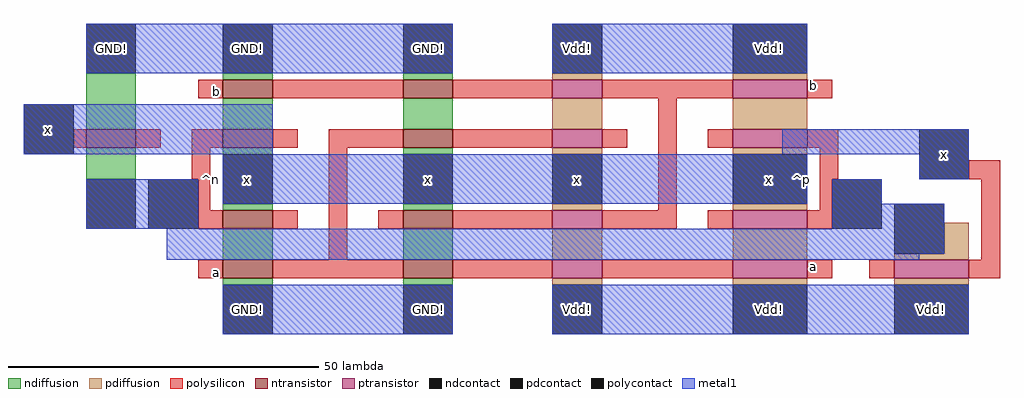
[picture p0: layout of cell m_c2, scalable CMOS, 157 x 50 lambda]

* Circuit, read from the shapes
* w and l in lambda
.subckt m_c2 GND! Vdd! a b x
M1 GND! x n1 VSUBS nfet w=8 l=3
M2 n2 a GND! VSUBS nfet w=8 l=3
M3 x n1 n2 VSUBS nfet w=8 l=3
M4 n3 n1 x VSUBS nfet w=8 l=3
M5 GND! b n3 VSUBS nfet w=8 l=3
M6 n4 a GND! VSUBS nfet w=8 l=3
M7 x b n4 VSUBS nfet w=8 l=3
M8 n5 a x VSUBS nfet w=8 l=3
M9 GND! b n5 VSUBS nfet w=8 l=3
M10 n6 a Vdd! NWELL pfet w=8 l=3
M11 x b n6 NWELL pfet w=8 l=3
M12 n7 a x NWELL pfet w=8 l=3
M13 Vdd! b n7 NWELL pfet w=8 l=3
M14 n8 a Vdd! NWELL pfet w=12 l=3
M15 x n1 n8 NWELL pfet w=12 l=3
M16 n9 n1 x NWELL pfet w=12 l=3
M17 Vdd! b n9 NWELL pfet w=12 l=3
M18 n1 x Vdd! NWELL pfet w=12 l=3
.ends

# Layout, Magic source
magic
tech scmos
<< ndiffusion >>
rect -145 349 -137 358
rect -123 357 -115 358
rect -94 357 -86 358
rect -123 349 -115 354
rect -94 349 -86 354
rect -145 341 -137 346
rect -123 345 -115 346
rect -123 336 -115 337
rect -123 328 -115 333
rect -94 345 -86 346
rect -94 336 -86 337
rect -94 328 -86 333
rect -123 324 -115 325
rect -94 324 -86 325
<< pdiffusion >>
rect -70 357 -62 358
rect -41 357 -29 358
rect -70 349 -62 354
rect -70 345 -62 346
rect -70 336 -62 337
rect -41 349 -29 354
rect -41 345 -29 346
rect -41 336 -29 337
rect -70 328 -62 333
rect -41 328 -29 333
rect -7 329 -3 334
rect -15 328 -3 329
rect -70 324 -62 325
rect -41 324 -29 325
rect -15 324 -3 325
<< ntransistor >>
rect -123 354 -115 357
rect -94 354 -86 357
rect -145 346 -137 349
rect -123 346 -115 349
rect -94 346 -86 349
rect -123 333 -115 336
rect -94 333 -86 336
rect -123 325 -115 328
rect -94 325 -86 328
<< ptransistor >>
rect -70 354 -62 357
rect -41 354 -29 357
rect -70 346 -62 349
rect -41 346 -29 349
rect -70 333 -62 336
rect -41 333 -29 336
rect -70 325 -62 328
rect -41 325 -29 328
rect -15 325 -3 328
<< polysilicon >>
rect -127 354 -123 357
rect -115 354 -94 357
rect -86 354 -70 357
rect -62 354 -41 357
rect -29 354 -25 357
rect -147 346 -145 349
rect -137 346 -133 349
rect -128 346 -123 349
rect -115 346 -111 349
rect -106 346 -94 349
rect -86 346 -70 349
rect -62 346 -58 349
rect -128 341 -125 346
rect -127 336 -125 341
rect -127 333 -123 336
rect -115 333 -111 336
rect -106 328 -103 346
rect -53 336 -50 354
rect -45 346 -41 349
rect -29 346 -24 349
rect -27 341 -24 346
rect -3 341 2 344
rect -27 336 -25 341
rect -98 333 -94 336
rect -86 333 -70 336
rect -62 333 -50 336
rect -45 333 -41 336
rect -29 333 -25 336
rect -1 328 2 341
rect -127 325 -123 328
rect -115 325 -94 328
rect -86 325 -70 328
rect -62 325 -41 328
rect -29 325 -25 328
rect -19 325 -15 328
rect -3 325 2 328
<< ndcontact >>
rect -145 358 -137 366
rect -123 358 -115 366
rect -94 358 -86 366
rect -145 333 -137 341
rect -123 337 -115 345
rect -94 337 -86 345
rect -123 316 -115 324
rect -94 316 -86 324
<< pdcontact >>
rect -70 358 -62 366
rect -41 358 -29 366
rect -70 337 -62 345
rect -41 337 -29 345
rect -15 329 -7 337
rect -70 316 -62 324
rect -41 316 -29 324
rect -15 316 -3 324
<< polycontact >>
rect -155 345 -147 353
rect -135 333 -127 341
rect -11 341 -3 349
rect -25 333 -17 341
<< metal1 >>
rect -145 358 -86 366
rect -70 358 -29 366
rect -155 345 -115 353
rect -33 345 -3 349
rect -145 333 -127 341
rect -123 337 -29 345
rect -11 341 -3 345
rect -25 337 -17 341
rect -25 333 -7 337
rect -132 329 -7 333
rect -132 328 -11 329
rect -123 316 -86 324
rect -70 316 -3 324
<< labels >>
rlabel metal1 -90 341 -90 341 1 x
rlabel metal1 -90 362 -90 362 5 GND!
rlabel metal1 -66 341 -66 341 1 x
rlabel metal1 -66 362 -66 362 5 Vdd!
rlabel metal1 -90 320 -90 320 1 GND!
rlabel metal1 -66 320 -66 320 1 Vdd!
rlabel polysilicon -28 327 -28 327 7 a
rlabel polysilicon -28 356 -28 356 7 b
rlabel metal1 -35 341 -35 341 5 x
rlabel metal1 -35 362 -35 362 5 Vdd!
rlabel metal1 -35 320 -35 320 1 Vdd!
rlabel metal1 -9 320 -9 320 1 Vdd!
rlabel metal1 -7 345 -7 345 1 x
rlabel space -157 315 -93 367 7 ^n
rlabel space -63 315 3 367 3 ^p
rlabel metal1 -119 341 -119 341 1 x
rlabel metal1 -119 362 -119 362 5 GND!
rlabel metal1 -119 320 -119 320 1 GND!
rlabel metal1 -141 362 -141 362 5 GND!
rlabel metal1 -151 349 -151 349 5 x
rlabel polysilicon -124 355 -124 355 3 b
rlabel polysilicon -124 326 -124 326 3 a
<< end >>
